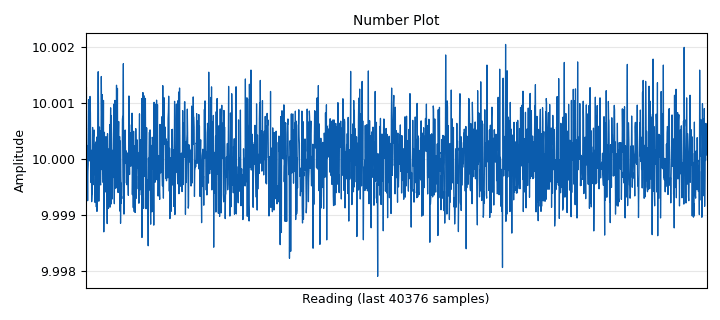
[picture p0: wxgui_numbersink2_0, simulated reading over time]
<?xml version='1.0' encoding='utf-8'?>
<flow_graph>
<block>
<key>options</key>
<param><key>id</key><value>top_block</value></param>
<param><key>generate_options</key><value>wx_gui</value></param>
<param><key>category</key><value>Custom</value></param>
</block>
<block>
<key>variable</key>
<param><key>id</key><value>samp_rate</value></param>
<param><key>value</key><value>32000</value></param>
</block>
<block>
<key>analog_noise_source_x</key>
<param><key>id</key><value>analog_noise_source_x_0</value></param>
<param><key>type</key><value>complex</value></param>
<param><key>noise_type</key><value>analog.GR_GAUSSIAN</value></param>
<param><key>amp</key><value>0.001</value></param>
<param><key>seed</key><value>0</value></param>
</block>
<block>
<key>blocks_float_to_complex</key>
<param><key>id</key><value>blocks_float_to_complex_0</value></param>
</block>
<block>
<key>analog_const_source_x</key>
<param><key>id</key><value>analog_const_source_x_0</value></param>
<param><key>type</key><value>float</value></param>
<param><key>const</key><value>im_part</value></param>
</block>
<block>
<key>analog_const_source_x</key>
<param><key>id</key><value>analog_const_source_x_0_0</value></param>
<param><key>type</key><value>float</value></param>
<param><key>const</key><value>1</value></param>
</block>
<block>
<key>analog_const_source_x</key>
<param><key>id</key><value>analog_const_source_x_0_0_0</value></param>
<param><key>type</key><value>complex</value></param>
<param><key>const</key><value>dc_offset</value></param>
</block>
<block>
<key>blocks_multiply_xx</key>
<param><key>id</key><value>blocks_multiply_xx_1</value></param>
<param><key>type</key><value>complex</value></param>
</block>
<block>
<key>blocks_conjugate_cc</key>
<param><key>id</key><value>blocks_conjugate_cc_0</value></param>
</block>
<block>
<key>blocks_add_xx</key>
<param><key>id</key><value>blocks_add_xx_0_0</value></param>
<param><key>type</key><value>complex</value></param>
</block>
<block>
<key>variable_slider</key>
<param><key>id</key><value>dc_offset</value></param>
<param><key>label</key><value></value></param>
<param><key>value</key><value>0</value></param>
<param><key>min</key><value>0</value></param>
<param><key>max</key><value>1</value></param>
<param><key>num_steps</key><value>100</value></param>
<param><key>style</key><value>wx.SL_HORIZONTAL</value></param>
<param><key>converver</key><value>float_converter</value></param>
</block>
<block>
<key>blocks_add_xx</key>
<param><key>id</key><value>blocks_add_xx_0</value></param>
<param><key>type</key><value>complex</value></param>
</block>
<block>
<key>analog_sig_source_x</key>
<param><key>id</key><value>analog_sig_source_x_1</value></param>
<param><key>type</key><value>complex</value></param>
<param><key>samp_rate</key><value>samp_rate</value></param>
<param><key>waveform</key><value>analog.GR_COS_WAVE</value></param>
<param><key>freq</key><value>1e3</value></param>
<param><key>amp</key><value>1</value></param>
<param><key>offset</key><value>0</value></param>
</block>
<block>
<key>blocks_complex_to_mag_squared</key>
<param><key>id</key><value>blocks_complex_to_mag_squared_0</value></param>
</block>
<block>
<key>wxgui_numbersink2</key>
<param><key>id</key><value>wxgui_numbersink2_0</value></param>
<param><key>type</key><value>float</value></param>
<param><key>title</key><value>Number Plot</value></param>
<param><key>units</key><value>Units</value></param>
<param><key>samp_rate</key><value>samp_rate</value></param>
<param><key>min_value</key><value>-100</value></param>
<param><key>max_value</key><value>100</value></param>
<param><key>factor</key><value>1.0</value></param>
<param><key>decimal_places</key><value>10</value></param>
<param><key>ref_level</key><value>0</value></param>
<param><key>number_rate</key><value>15</value></param>
<param><key>peak_hold</key><value>False</value></param>
<param><key>average</key><value>False</value></param>
<param><key>avg_alpha</key><value>0</value></param>
<param><key>show_gauge</key><value>True</value></param>
</block>
<block>
<key>blocks_nlog10_ff</key>
<param><key>id</key><value>blocks_nlog10_ff_0</value></param>
<param><key>k</key><value>10</value></param>
</block>
<block>
<key>variable_slider</key>
<param><key>id</key><value>im_part</value></param>
<param><key>label</key><value></value></param>
<param><key>value</key><value>0</value></param>
<param><key>min</key><value>0</value></param>
<param><key>max</key><value>1</value></param>
<param><key>num_steps</key><value>100</value></param>
<param><key>style</key><value>wx.SL_HORIZONTAL</value></param>
<param><key>converver</key><value>float_converter</value></param>
</block>
<block>
<key>blocks_throttle</key>
<param><key>id</key><value>blocks_throttle_0</value></param>
<param><key>type</key><value>complex</value></param>
<param><key>samples_per_second</key><value>32e3</value></param>
</block>
<block>
<key>blocks_multiply_xx</key>
<param><key>id</key><value>blocks_multiply_xx_0</value></param>
<param><key>type</key><value>complex</value></param>
</block>
<block>
<key>blocks_multiply_const_vxx</key>
<param><key>id</key><value>blocks_multiply_const_vxx_0</value></param>
<param><key>type</key><value>complex</value></param>
<param><key>const</key><value>ampl</value></param>
</block>
<block>
<key>variable_slider</key>
<param><key>id</key><value>ampl</value></param>
<param><key>label</key><value></value></param>
<param><key>value</key><value>1</value></param>
<param><key>min</key><value>0</value></param>
<param><key>max</key><value>100</value></param>
<param><key>num_steps</key><value>101</value></param>
<param><key>style</key><value>wx.SL_HORIZONTAL</value></param>
<param><key>converver</key><value>float_converter</value></param>
</block>
<connection><source_block_id>blocks_float_to_complex_0</source_block_id><sink_block_id>blocks_multiply_xx_1</sink_block_id><source_key>0</source_key><sink_key>1</sink_key></connection>
<connection><source_block_id>analog_const_source_x_0</source_block_id><sink_block_id>blocks_float_to_complex_0</sink_block_id><source_key>0</source_key><sink_key>1</sink_key></connection>
<connection><source_block_id>analog_const_source_x_0_0</source_block_id><sink_block_id>blocks_float_to_complex_0</sink_block_id><source_key>0</source_key><sink_key>0</sink_key></connection>
<connection><source_block_id>blocks_throttle_0</source_block_id><sink_block_id>blocks_add_xx_0</sink_block_id><source_key>0</source_key><sink_key>0</sink_key></connection>
<connection><source_block_id>analog_const_source_x_0_0_0</source_block_id><sink_block_id>blocks_add_xx_0</sink_block_id><source_key>0</source_key><sink_key>1</sink_key></connection>
<connection><source_block_id>blocks_add_xx_0</source_block_id><sink_block_id>blocks_multiply_xx_1</sink_block_id><source_key>0</source_key><sink_key>0</sink_key></connection>
<connection><source_block_id>blocks_multiply_xx_1</source_block_id><sink_block_id>blocks_add_xx_0_0</sink_block_id><source_key>0</source_key><sink_key>1</sink_key></connection>
<connection><source_block_id>blocks_add_xx_0_0</source_block_id><sink_block_id>blocks_conjugate_cc_0</sink_block_id><source_key>0</source_key><sink_key>0</sink_key></connection>
<connection><source_block_id>analog_noise_source_x_0</source_block_id><sink_block_id>blocks_add_xx_0_0</sink_block_id><source_key>0</source_key><sink_key>0</sink_key></connection>
<connection><source_block_id>analog_sig_source_x_1</source_block_id><sink_block_id>blocks_throttle_0</sink_block_id><source_key>0</source_key><sink_key>0</sink_key></connection>
<connection><source_block_id>blocks_conjugate_cc_0</source_block_id><sink_block_id>blocks_multiply_xx_0</sink_block_id><source_key>0</source_key><sink_key>1</sink_key></connection>
<connection><source_block_id>blocks_multiply_xx_0</source_block_id><sink_block_id>blocks_complex_to_mag_squared_0</sink_block_id><source_key>0</source_key><sink_key>0</sink_key></connection>
<connection><source_block_id>blocks_complex_to_mag_squared_0</source_block_id><sink_block_id>blocks_nlog10_ff_0</sink_block_id><source_key>0</source_key><sink_key>0</sink_key></connection>
<connection><source_block_id>blocks_nlog10_ff_0</source_block_id><sink_block_id>wxgui_numbersink2_0</sink_block_id><source_key>0</source_key><sink_key>0</sink_key></connection>
<connection><source_block_id>blocks_throttle_0</source_block_id><sink_block_id>blocks_multiply_const_vxx_0</sink_block_id><source_key>0</source_key><sink_key>0</sink_key></connection>
<connection><source_block_id>blocks_multiply_const_vxx_0</source_block_id><sink_block_id>blocks_multiply_xx_0</sink_block_id><source_key>0</source_key><sink_key>0</sink_key></connection>
</flow_graph>
